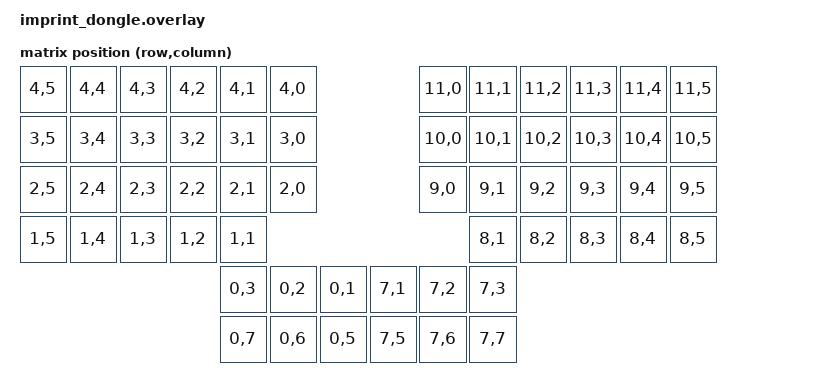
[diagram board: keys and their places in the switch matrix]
// The upstream imprint_dongle shield (zmk-keyboards, zephyr-4.1) is standalone:
// it does not include imprint.dtsi, and its default transform is the
// function-row one. config/imprint.keymap, which this build also uses (the
// "imprint" prefix of the shield name), chooses the letters-only transform, so
// its node is defined here as a copy of imprint_letters_only_full_bottom_row
// (keymap_transform_8) in upstream imprint.dtsi.

#include <dt-bindings/zmk/matrix_transform.h>

/ {
    imprint_letters_only_full_bottom_row: keymap_transform_8 {
        compatible = "zmk,matrix-transform";
        columns = <8>;
        rows = <14>;
        map = <
RC(4,5) RC(4,4) RC(4,3) RC(4,2) RC(4,1) RC(4,0)                           RC(11,0) RC(11,1) RC(11,2) RC(11,3) RC(11,4) RC(11,5)
RC(3,5) RC(3,4) RC(3,3) RC(3,2) RC(3,1) RC(3,0)                           RC(10,0) RC(10,1) RC(10,2) RC(10,3) RC(10,4) RC(10,5)
RC(2,5) RC(2,4) RC(2,3) RC(2,2) RC(2,1) RC(2,0)                           RC(9,0)  RC(9,1)  RC(9,2)  RC(9,3)  RC(9,4)  RC(9,5)
RC(1,5) RC(1,4) RC(1,3) RC(1,2) RC(1,1)                                            RC(8,1)  RC(8,2)  RC(8,3)  RC(8,4)  RC(8,5)
                                    RC(0,3) RC(0,2) RC(0,1)   RC(7,1) RC(7,2) RC(7,3)
                                    RC(0,7) RC(0,6) RC(0,5)   RC(7,5) RC(7,6) RC(7,7)
        >;
    };
};

// The dongle has no battery, but ZMK's xiao_ble board points zmk,battery at
// its voltage divider, which reads a meaningless level with no cell attached.
// Nothing reads the dongle's own level: chord's vendor report 0x21 and
// zmk-beacon's status advertisement carry the halves' levels only (peripheral
// battery events), and USB HID has no battery path. Without the chosen node
// ZMK's battery.c finds no battery device and never samples; disabling vbatt
// also drops the divider's ADC channel and power GPIO from the build.
/ {
    chosen {
        /delete-property/ zmk,battery;
    };
};

&vbatt {
    status = "disabled";
};
